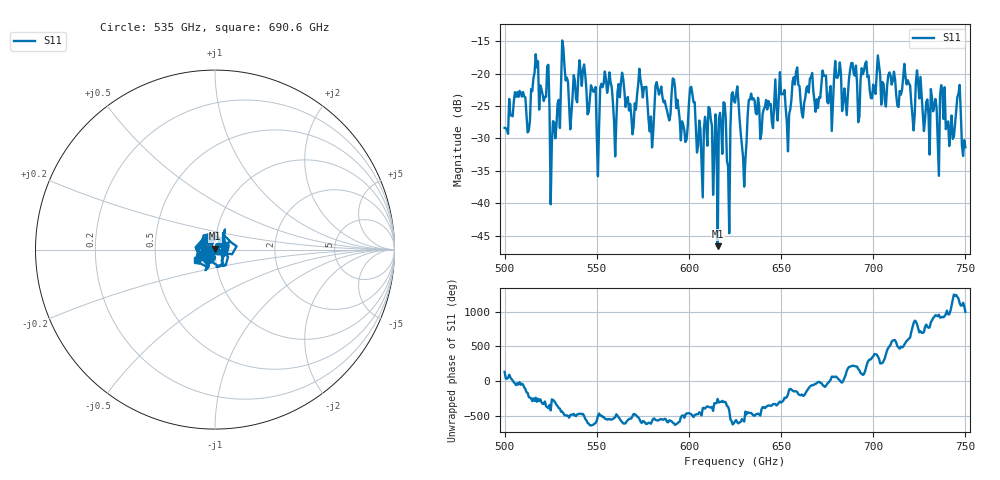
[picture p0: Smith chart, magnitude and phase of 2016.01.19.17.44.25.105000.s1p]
!Created with skrf (http://scikit-rf.org).
# GHz S RI R 50.0
!freq ReS11 ImS11
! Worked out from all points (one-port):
!   401 points, 500 GHz to 750 GHz, reference 50 ohm
!   lowest |S11| = -46.6 dB at 615.6 GHz (marker M1), VSWR 1.01, Z = 49.9 + j0.458 ohm
!   |S11| at or under -10 dB: start of sweep to end of sweep
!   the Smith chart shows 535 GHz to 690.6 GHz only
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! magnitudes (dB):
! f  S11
! 500 GHz  -28.4
! 513.1 GHz  -28.8
! 516.9 GHz  -17.0
! 523.1 GHz  -18.8
! 526.2 GHz  -27.3
! 531.2 GHz  -14.9
! 541.9 GHz  -21.9
! 550 GHz  -29.5
! 553.1 GHz  -22.1
! 560 GHz  -32.8
! 562.5 GHz  -23.6
! 568.8 GHz  -26.5
! 574.4 GHz  -22.0
! 579.4 GHz  -26.6
! 583.1 GHz  -22.3
! 593.8 GHz  -24.0
! 615.6 GHz  -46.6
! 618.8 GHz  -24.4
! 621.2 GHz  -34.3
! 625 GHz  -24.5
! 630 GHz  -37.4
! 633.8 GHz  -23.1
! 656.2 GHz  -21.2
! 687.5 GHz  -19.4
! 718.8 GHz  -21.0
! 742.5 GHz  -26.5
! 746.2 GHz  -23.1
! 750 GHz  -31.3
